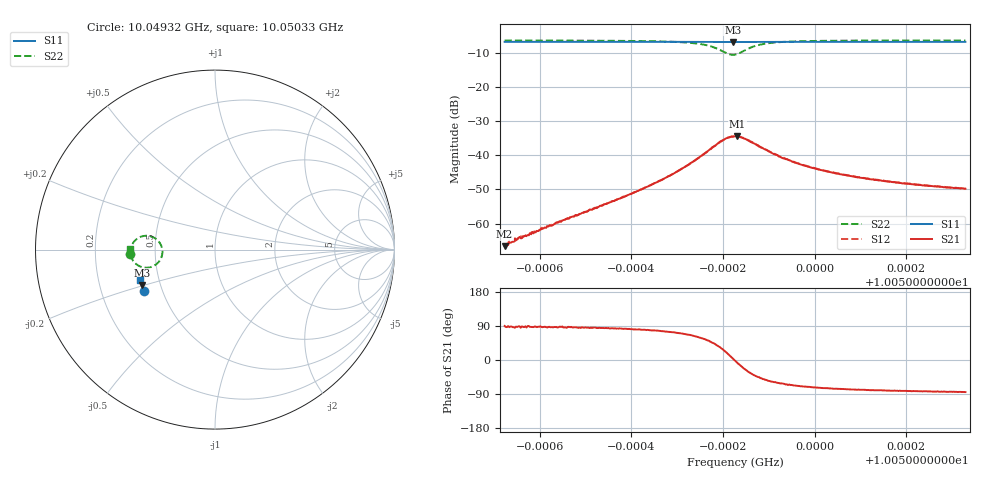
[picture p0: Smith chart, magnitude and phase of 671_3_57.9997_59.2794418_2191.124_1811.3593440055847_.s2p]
#  HZ  S  RI  R  50.00
! Rohde & Schwarz Vector Network Analyzer
! Rohde-Schwarz,ZNB20-2Port,1311601062101988,3.16
! Created: UTC 3/21/2024, 1:20:23 AM
! freq[Hz]  re:S11  im:S11  re:S21  im:S21  re:S12  im:S12  re:S22  im:S22
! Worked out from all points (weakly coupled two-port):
!   401 points, 10.04932 GHz to 10.05033 GHz, reference 50 ohm
!   highest |S21| = -34.49 dB at 10.04983 GHz (marker M1); lowest = -66.6 dB at 10.04932 GHz (marker M2)
!   lowest |S11| = -6.9 dB at 10.04982 GHz (marker M3), VSWR 2.65, Z = 19.8 - j9.86 ohm
!   |S11| at or under -10 dB: nowhere
!   |S22| runs from -10.7 to -6.5 dB; largest |S21 - S12| = 0.0016
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1.0049323e10  -0.3928 -0.2285  1.96e-06 0.000467  -6.84e-06 0.000482  -0.4741 -0.0237
1.0049351e10  -0.3937 -0.2268  2.86e-05 0.000584  -9e-06 0.000603  -0.4739 -0.0209
1.0049376e10  -0.3944 -0.2252  4.99e-06 0.000674  -4.13e-05 0.000697  -0.4738 -0.0183
1.0049409e10  -0.3954 -0.2233  3.99e-05 0.000853  -1.32e-05 0.00088  -0.4735 -0.0144
1.0049492e10  -0.398 -0.2184  8.79e-05 0.00143  -3.28e-06 0.00141  -0.4721 -0.00384
1.004958e10  -0.4007 -0.2131  0.000304 0.00238  0.000199 0.00243  -0.4688 0.0109
1.004966e10  -0.4028 -0.2082  0.000941 0.00409  0.000716 0.0041  -0.4602 0.0314
1.0049721e10  -0.4045 -0.2044  0.00265 0.00646  0.00229 0.00659  -0.44 0.0557
1.0049753e10  -0.4052 -0.2021  0.00528 0.00831  0.0047 0.00857  -0.4127 0.072
1.0049778e10  -0.4054 -0.2005  0.00938 0.00932  0.00874 0.00979  -0.3725 0.0766
1.0049801e10  -0.4053 -0.1992  0.015 0.00742  0.0145 0.00844  -0.3214 0.0533
1.0049821e10  -0.4054 -0.1986  0.0187 0.00141  0.0184 0.00282  -0.2932 -0.00699
1.0049826e10  -0.4056 -0.1985  0.0188 -0.000574  0.0188 0.000881  -0.294 -0.025
1.0049831e10  -0.4058 -0.1983  0.0187 -0.00248  0.0189 -0.000859  -0.2984 -0.0424
1.0049844e10  -0.4061 -0.1981  0.0166 -0.0063  0.0172 -0.00504  -0.3216 -0.0772
1.0049856e10  -0.4067 -0.1976  0.0137 -0.00855  0.0147 -0.00743  -0.3515 -0.0955
1.0049889e10  -0.4081 -0.1958  0.00788 -0.00953  0.00861 -0.00911  -0.4122 -0.0957
1.0049932e10  -0.4098 -0.1932  0.00413 -0.008  0.00463 -0.00798  -0.4471 -0.0734
1.0049995e10  -0.4116 -0.1893  0.00204 -0.00619  0.00246 -0.00612  -0.4644 -0.0483
1.0050068e10  -0.4135 -0.1847  0.00116 -0.00498  0.00145 -0.00495  -0.4709 -0.0301
1.0050163e10  -0.416 -0.1789  0.000667 -0.00402  0.000897 -0.00405  -0.4739 -0.0142
1.0050329e10  -0.4201 -0.1687  0.000302 -0.00321  0.000515 -0.00324  -0.4754 0.00532
